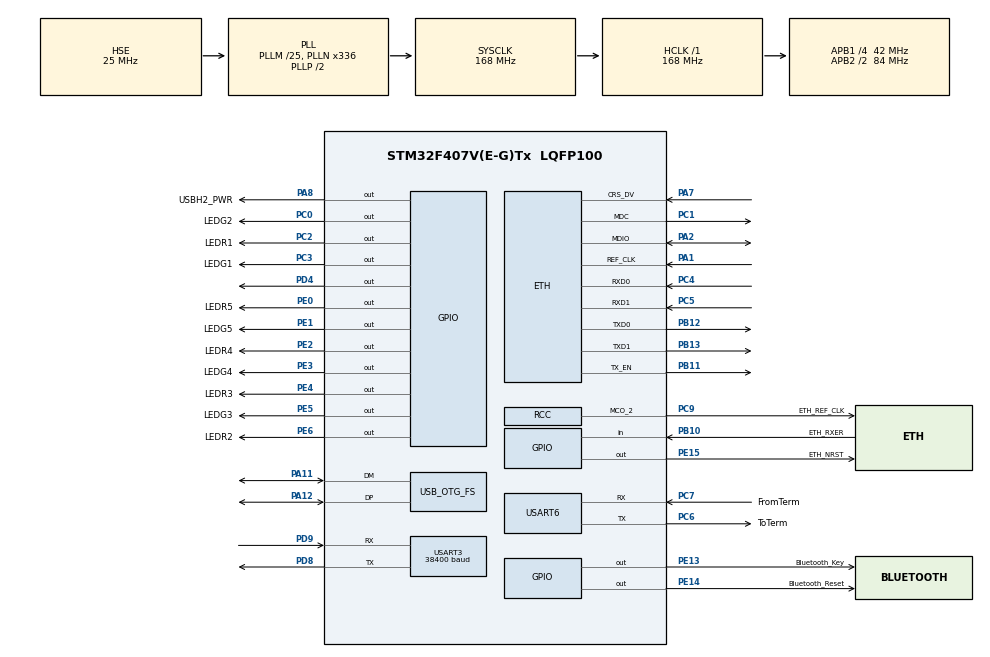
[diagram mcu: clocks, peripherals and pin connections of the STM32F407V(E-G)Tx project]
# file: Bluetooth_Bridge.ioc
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Dma.Request0=USART6_TX
Dma.Request1=USART6_RX
Dma.Request2=USART3_RX
Dma.Request3=USART3_TX
Dma.USART3_RX.2.Direction=DMA_PERIPH_TO_MEMORY
Dma.USART3_RX.2.FIFOMode=DMA_FIFOMODE_DISABLE
Dma.USART3_RX.2.Instance=DMA1_Stream1
Dma.USART3_RX.2.MemDataAlignment=DMA_MDATAALIGN_BYTE
Dma.USART3_RX.2.MemInc=DMA_MINC_ENABLE
Dma.USART3_RX.2.Mode=DMA_CIRCULAR
Dma.USART3_RX.2.PeriphDataAlignment=DMA_PDATAALIGN_BYTE
Dma.USART3_RX.2.PeriphInc=DMA_PINC_DISABLE
Dma.USART3_RX.2.Priority=DMA_PRIORITY_LOW
Dma.USART3_TX.3.Direction=DMA_MEMORY_TO_PERIPH
Dma.USART3_TX.3.FIFOMode=DMA_FIFOMODE_DISABLE
Dma.USART3_TX.3.Instance=DMA1_Stream3
Dma.USART3_TX.3.MemDataAlignment=DMA_MDATAALIGN_BYTE
Dma.USART3_TX.3.MemInc=DMA_MINC_ENABLE
Dma.USART3_TX.3.Mode=DMA_NORMAL
Dma.USART3_TX.3.PeriphDataAlignment=DMA_PDATAALIGN_BYTE
Dma.USART3_TX.3.PeriphInc=DMA_PINC_DISABLE
Dma.USART3_TX.3.Priority=DMA_PRIORITY_LOW
Dma.USART6_RX.1.Direction=DMA_PERIPH_TO_MEMORY
Dma.USART6_RX.1.FIFOMode=DMA_FIFOMODE_DISABLE
Dma.USART6_RX.1.Instance=DMA2_Stream1
Dma.USART6_RX.1.MemDataAlignment=DMA_MDATAALIGN_BYTE
Dma.USART6_RX.1.MemInc=DMA_MINC_ENABLE
Dma.USART6_RX.1.Mode=DMA_CIRCULAR
Dma.USART6_RX.1.PeriphDataAlignment=DMA_PDATAALIGN_BYTE
Dma.USART6_RX.1.PeriphInc=DMA_PINC_DISABLE
Dma.USART6_RX.1.Priority=DMA_PRIORITY_VERY_HIGH
Dma.USART6_TX.0.Direction=DMA_MEMORY_TO_PERIPH
Dma.USART6_TX.0.FIFOMode=DMA_FIFOMODE_DISABLE
Dma.USART6_TX.0.Instance=DMA2_Stream6
Dma.USART6_TX.0.MemDataAlignment=DMA_MDATAALIGN_BYTE
Dma.USART6_TX.0.MemInc=DMA_MINC_ENABLE
Dma.USART6_TX.0.Mode=DMA_NORMAL
Dma.USART6_TX.0.PeriphDataAlignment=DMA_PDATAALIGN_BYTE
Dma.USART6_TX.0.PeriphInc=DMA_PINC_DISABLE
Dma.USART6_TX.0.Priority=DMA_PRIORITY_VERY_HIGH
ETH.ChecksumMode=ETH_CHECKSUM_BY_HARDWARE
ETH.MACAddr=00\:80\:E1\:00\:28\:93
ETH.MediaInterface=ETH_MEDIA_INTERFACE_RMII
ETH.PHY_DUPLEX_STATUS=0x0010
ETH.PHY_ISFR=0x001d
ETH.PHY_ISFR_INT4=0x0010
ETH.PHY_Name_RMII=userPHY
ETH.PHY_SPEED_STATUS=0x0004
ETH.PHY_SR=31
ETH.PHY_User_Name=LAN8720
ETH.PhyAddress=0
FREERTOS.Tasks01=defaultTask,0,512,StartDefaultTask,Default,NULL,Dynamic,NULL,NULL
FREERTOS.configCHECK_FOR_STACK_OVERFLOW=2
FREERTOS.configTOTAL_HEAP_SIZE=20480
FREERTOS.configUSE_MALLOC_FAILED_HOOK=1
Mcu.Family=STM32F4
Mcu.Name=STM32F407V(E-G)Tx
Mcu.Package=LQFP100
NVIC.DMA1_Stream1_IRQn=true\:0\:0\:false\:false\:true\:false\:false
NVIC.DMA1_Stream3_IRQn=true\:0\:0\:false\:false\:true\:false\:false
NVIC.DMA2_Stream1_IRQn=true\:0\:0\:false\:false\:true\:false\:false
NVIC.DMA2_Stream6_IRQn=true\:0\:0\:false\:false\:true\:false\:false
NVIC.PriorityGroup=NVIC_PRIORITYGROUP_4
NVIC.TIM1_UP_TIM10_IRQn=true\:0\:0\:false\:false\:true\:false\:false
NVIC.TimeBase=TIM1_UP_TIM10_IRQn
NVIC.TimeBaseIP=TIM1
NVIC.USART3_IRQn=true\:0\:0\:false\:false\:true\:false\:true
NVIC.USART6_IRQn=true\:0\:0\:false\:false\:true\:false\:true
PA1.Mode=RMII
PA1.Signal=ETH_REF_CLK
PA11.Mode=Host_Only
PA11.Signal=USB_OTG_FS_DM
PA12.Mode=Host_Only
PA12.Signal=USB_OTG_FS_DP
PA13.Mode=Trace_Asynchronous_SW
PA13.Signal=SYS_JTMS-SWDIO
PA14.Mode=Trace_Asynchronous_SW
PA14.Signal=SYS_JTCK-SWCLK
PA2.Mode=RMII
PA2.Signal=ETH_MDIO
PA7.Mode=RMII
PA7.Signal=ETH_CRS_DV
PA8.GPIO_Label=USBH2_PWR
PA8.Signal=GPIO_Output
PB10.GPIO_Label=ETH_RXER
PB10.Signal=GPIO_Input
PB11.Mode=RMII
PB11.Signal=ETH_TX_EN
PB12.Mode=RMII
PB12.Signal=ETH_TXD0
PB13.Mode=RMII
PB13.Signal=ETH_TXD1
PB3.Mode=Trace_Asynchronous_SW
PB3.Signal=SYS_JTDO-SWO
PC0.GPIO_Label=LEDG2
PC0.Signal=GPIO_Output
PC1.Mode=RMII
PC1.Signal=ETH_MDC
PC2.GPIO_Label=LEDR1
PC2.Signal=GPIO_Output
PC3.GPIO_Label=LEDG1
PC3.Signal=GPIO_Output
PC4.Mode=RMII
PC4.Signal=ETH_RXD0
PC5.Mode=RMII
PC5.Signal=ETH_RXD1
PC6.GPIO_Label=ToTerm
PC6.Mode=Asynchronous
PC6.Signal=USART6_TX
PC7.GPIO_Label=FromTerm
PC7.Mode=Asynchronous
PC7.Signal=USART6_RX
PC9.GPIO_Label=ETH_REF_CLK
PC9.GPIO_Speed=GPIO_SPEED_FREQ_HIGH
PC9.Mode=Clock-out-2
PC9.Signal=RCC_MCO_2
PD4.PinState=GPIO_PIN_SET
PD4.Signal=GPIO_Output
PD6.GPIO_Label=FromModem
PD6.Signal=USART2_RX
PD8.Mode=Asynchronous
PD8.Signal=USART3_TX
PD9.Mode=Asynchronous
PD9.Signal=USART3_RX
PE0.GPIO_Label=LEDR5
PE0.Signal=GPIO_Output
PE1.GPIO_Label=LEDG5
PE1.Signal=GPIO_Output
PE13.GPIO_Label=Bluetooth_Key
PE13.Signal=GPIO_Output
PE14.GPIO_Label=Bluetooth_Reset
PE14.Signal=GPIO_Output
PE15.GPIO_Label=ETH_NRST
PE15.Signal=GPIO_Output
PE2.GPIO_Label=LEDR4
PE2.Signal=GPIO_Output
PE3.GPIO_Label=LEDG4
PE3.Signal=GPIO_Output
PE4.GPIO_Label=LEDR3
PE4.Signal=GPIO_Output
PE5.GPIO_Label=LEDG3
PE5.Signal=GPIO_Output
PE6.GPIO_Label=LEDR2
PE6.Signal=GPIO_Output
PH0-OSC_IN.Mode=HSE-External-Oscillator
PH0-OSC_IN.Signal=RCC_OSC_IN
PH1-OSC_OUT.Mode=HSE-External-Oscillator
PH1-OSC_OUT.Signal=RCC_OSC_OUT
ProjectManager.HeapSize=0x2000
ProjectManager.StackSize=0x4000
ProjectManager.TargetToolchain=MDK-ARM V5
RCC.48MHZClocksFreq_Value=48000000
RCC.AHBFreq_Value=168000000
RCC.APB1CLKDivider=RCC_HCLK_DIV4
RCC.APB1Freq_Value=42000000
RCC.APB1TimFreq_Value=84000000
RCC.APB2CLKDivider=RCC_HCLK_DIV2
RCC.APB2Freq_Value=84000000
RCC.APB2TimFreq_Value=168000000
RCC.CortexFreq_Value=168000000
RCC.HCLKFreq_Value=168000000
RCC.HSE_VALUE=25000000
RCC.HSI_VALUE=16000000
RCC.LSE_VALUE=32768
RCC.PLLI2SN=100
RCC.PLLM=25
RCC.PLLN=336
RCC.PLLQ=7
RCC.RCC_MCO2Source=RCC_MCO2SOURCE_PLLI2SCLK
RCC.SYSCLKFreq_VALUE=168000000
RCC.SYSCLKSource=RCC_SYSCLKSOURCE_PLLCLK
RCC.VCOOutputFreq_Value=336000000
USART3.BaudRate=38400
USART3.VirtualMode=VM_ASYNC
USART6.VirtualMode=VM_ASYNC
USB_OTG_FS.VirtualMode=Host_Only
USB_OTG_FS.phy_itface=HCD_PHY_EMBEDDED
VP_FREERTOS_VS_ENABLE.Mode=Enabled
VP_SYS_VS_tim1.Mode=TIM1
board=Bluetooth_Bridge

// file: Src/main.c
/**
  ******************************************************************************
  * @file           : main.c
  * @brief          : Main program body
  ******************************************************************************
  * This notice applies to any and all portions of this file
  * that are not between comment pairs USER CODE BEGIN and
  * USER CODE END. Other portions of this file, whether
  * inserted by the user or by software development tools
  * are owned by their respective copyright owners.
  *
  * Copyright (c) 2018 STMicroelectronics International N.V.
  * All rights reserved.
  *
  * Redistribution and use in source and binary forms, with or without
  * modification, are permitted, provided that the following conditions are met:
  *
  * 1. Redistribution of source code must retain the above copyright notice,
  *    this list of conditions and the following disclaimer.
  * 2. Redistributions in binary form must reproduce the above copyright notice,
  *    this list of conditions and the following disclaimer in the documentation
  *    and/or other materials provided with the distribution.
  * 3. Neither the name of STMicroelectronics nor the names of other
  *    contributors to this software may be used to endorse or promote products
  *    derived from this software without specific written permission.
  * 4. This software, including modifications and/or derivative works of this
  *    software, must execute solely and exclusively on microcontroller or
  *    microprocessor devices manufactured by or for STMicroelectronics.
  * 5. Redistribution and use of this software other than as permitted under
  *    this license is void and will automatically terminate your rights under
  *    this license.
  *
  * THIS SOFTWARE IS PROVIDED BY STMICROELECTRONICS AND CONTRIBUTORS "AS IS"
  * AND ANY EXPRESS, IMPLIED OR STATUTORY WARRANTIES, INCLUDING, BUT NOT
  * LIMITED TO, THE IMPLIED WARRANTIES OF MERCHANTABILITY, FITNESS FOR A
  * PARTICULAR PURPOSE AND NON-INFRINGEMENT OF THIRD PARTY INTELLECTUAL PROPERTY
  * RIGHTS ARE DISCLAIMED TO THE FULLEST EXTENT PERMITTED BY LAW. IN NO EVENT
  * SHALL STMICROELECTRONICS OR CONTRIBUTORS BE LIABLE FOR ANY DIRECT, INDIRECT,
  * INCIDENTAL, SPECIAL, EXEMPLARY, OR CONSEQUENTIAL DAMAGES (INCLUDING, BUT NOT
  * LIMITED TO, PROCUREMENT OF SUBSTITUTE GOODS OR SERVICES; LOSS OF USE, DATA,
  * OR PROFITS; OR BUSINESS INTERRUPTION) HOWEVER CAUSED AND ON ANY THEORY OF
  * LIABILITY, WHETHER IN CONTRACT, STRICT LIABILITY, OR TORT (INCLUDING
  * NEGLIGENCE OR OTHERWISE) ARISING IN ANY WAY OUT OF THE USE OF THIS SOFTWARE,
  * EVEN IF ADVISED OF THE POSSIBILITY OF SUCH DAMAGE.
  *
  ******************************************************************************
  */
#include "main.h"
#include "stm32f4xx_hal.h"
#include "cmsis_os.h"

/* USER CODE BEGIN Includes */
#include "Bluetooth_Interface.h"
#include "HC0506_USART.h"
#include "stdlib.h"
/* USER CODE END Includes */

ETH_HandleTypeDef heth;

UART_HandleTypeDef huart3;
UART_HandleTypeDef huart6;
DMA_HandleTypeDef hdma_usart3_rx;
DMA_HandleTypeDef hdma_usart3_tx;
DMA_HandleTypeDef hdma_usart6_tx;
DMA_HandleTypeDef hdma_usart6_rx;

HCD_HandleTypeDef hhcd_USB_OTG_FS;

osThreadId defaultTaskHandle;

/* USER CODE BEGIN PV */
/* Private variables ---------------------------------------------------------*/
osThreadId BLE_To_PC_Handle;
osThreadId PC_To_BLE_TaskHandle;
/* USER CODE END PV */

void SystemClock_Config(void);
static void MX_GPIO_Init(void);
static void MX_DMA_Init(void);
static void MX_USART6_UART_Init(void);
static void MX_USART3_UART_Init(void);
static void MX_ETH_Init(void);
static void MX_USB_OTG_FS_HCD_Init(void);
void StartDefaultTask(void const * argument);

/* USER CODE BEGIN PFP */
/* Private function prototypes -----------------------------------------------*/

/* USER CODE END PFP */

int main(void)
{

  /* MCU Configuration----------------------------------------------------------*/

  /* Reset of all peripherals, Initializes the Flash interface and the Systick. */
  HAL_Init();

  /* Configure the system clock */
  SystemClock_Config();

  /* Initialize all configured peripherals */
  MX_GPIO_Init();
  MX_DMA_Init();
  MX_USART6_UART_Init();
  MX_USART3_UART_Init();
  MX_ETH_Init();
  MX_USB_OTG_FS_HCD_Init();

  /* Create the thread(s) */
  /* definition and creation of defaultTask */
  osThreadDef(defaultTask, StartDefaultTask, osPriorityNormal, 0, 512);
  defaultTaskHandle = osThreadCreate(osThread(defaultTask), NULL);

  /* Start scheduler */
  osKernelStart();

  /* We should never get here as control is now taken by the scheduler */

  /* Infinite loop */
  while (1)
  {

  }

}

void SystemClock_Config(void)
{

  RCC_OscInitTypeDef RCC_OscInitStruct;
  RCC_ClkInitTypeDef RCC_ClkInitStruct;
  RCC_PeriphCLKInitTypeDef PeriphClkInitStruct;

    /**Configure the main internal regulator output voltage
    */
  __HAL_RCC_PWR_CLK_ENABLE();

  __HAL_PWR_VOLTAGESCALING_CONFIG(PWR_REGULATOR_VOLTAGE_SCALE1);

    /**Initializes the CPU, AHB and APB busses clocks
    */
  RCC_OscInitStruct.OscillatorType = RCC_OSCILLATORTYPE_HSE;
  RCC_OscInitStruct.HSEState = RCC_HSE_ON;
  RCC_OscInitStruct.PLL.PLLState = RCC_PLL_ON;
  RCC_OscInitStruct.PLL.PLLSource = RCC_PLLSOURCE_HSE;
  RCC_OscInitStruct.PLL.PLLM = 25;
  RCC_OscInitStruct.PLL.PLLN = 336;
  RCC_OscInitStruct.PLL.PLLP = RCC_PLLP_DIV2;
  RCC_OscInitStruct.PLL.PLLQ = 7;
  if (HAL_RCC_OscConfig(&RCC_OscInitStruct) != HAL_OK)
  {
    _Error_Handler(__FILE__, __LINE__);
  }

    /**Initializes the CPU, AHB and APB busses clocks
    */
  RCC_ClkInitStruct.ClockType = RCC_CLOCKTYPE_HCLK|RCC_CLOCKTYPE_SYSCLK
                              |RCC_CLOCKTYPE_PCLK1|RCC_CLOCKTYPE_PCLK2;
  RCC_ClkInitStruct.SYSCLKSource = RCC_SYSCLKSOURCE_PLLCLK;
  RCC_ClkInitStruct.AHBCLKDivider = RCC_SYSCLK_DIV1;
  RCC_ClkInitStruct.APB1CLKDivider = RCC_HCLK_DIV4;
  RCC_ClkInitStruct.APB2CLKDivider = RCC_HCLK_DIV2;

  if (HAL_RCC_ClockConfig(&RCC_ClkInitStruct, FLASH_LATENCY_5) != HAL_OK)
  {
    _Error_Handler(__FILE__, __LINE__);
  }

  PeriphClkInitStruct.PeriphClockSelection = RCC_PERIPHCLK_I2S;
  PeriphClkInitStruct.PLLI2S.PLLI2SN = 100;
  PeriphClkInitStruct.PLLI2S.PLLI2SR = 2;
  if (HAL_RCCEx_PeriphCLKConfig(&PeriphClkInitStruct) != HAL_OK)
  {
    _Error_Handler(__FILE__, __LINE__);
  }

  HAL_RCC_MCOConfig(RCC_MCO2, RCC_MCO2SOURCE_PLLI2SCLK, RCC_MCODIV_1);

    /**Configure the Systick interrupt time
    */
  HAL_SYSTICK_Config(HAL_RCC_GetHCLKFreq()/1000);

    /**Configure the Systick
    */
  HAL_SYSTICK_CLKSourceConfig(SYSTICK_CLKSOURCE_HCLK);

  /* SysTick_IRQn interrupt configuration */
  HAL_NVIC_SetPriority(SysTick_IRQn, 15, 0);
}

/* ETH init function */
static void MX_ETH_Init(void)
{

   uint8_t MACAddr[6] ;

  heth.Instance = ETH;
  heth.Init.AutoNegotiation = ETH_AUTONEGOTIATION_ENABLE;
  heth.Init.PhyAddress = LAN8720_PHY_ADDRESS;
  MACAddr[0] = 0x00;
  MACAddr[1] = 0x80;
  MACAddr[2] = 0xE1;
  MACAddr[3] = 0x00;
  MACAddr[4] = 0x28;
  MACAddr[5] = 0x93;
  heth.Init.MACAddr = &MACAddr[0];
  heth.Init.RxMode = ETH_RXPOLLING_MODE;
  heth.Init.ChecksumMode = ETH_CHECKSUM_BY_HARDWARE;
  heth.Init.MediaInterface = ETH_MEDIA_INTERFACE_RMII;

  if (HAL_ETH_Init(&heth) != HAL_OK)
  {
    _Error_Handler(__FILE__, __LINE__);
  }

}

/* USART3 init function */
static void MX_USART3_UART_Init(void)
{

  huart3.Instance = USART3;
  huart3.Init.BaudRate = 38400;
  huart3.Init.WordLength = UART_WORDLENGTH_8B;
  huart3.Init.StopBits = UART_STOPBITS_1;
  huart3.Init.Parity = UART_PARITY_NONE;
  huart3.Init.Mode = UART_MODE_TX_RX;
  huart3.Init.HwFlowCtl = UART_HWCONTROL_NONE;
  huart3.Init.OverSampling = UART_OVERSAMPLING_16;
  if (HAL_UART_Init(&huart3) != HAL_OK)
  {
    _Error_Handler(__FILE__, __LINE__);
  }

}

/* USART6 init function */
static void MX_USART6_UART_Init(void)
{

  huart6.Instance = USART6;
  huart6.Init.BaudRate = 115200;
  huart6.Init.WordLength = UART_WORDLENGTH_8B;
  huart6.Init.StopBits = UART_STOPBITS_1;
  huart6.Init.Parity = UART_PARITY_NONE;
  huart6.Init.Mode = UART_MODE_TX_RX;
  huart6.Init.HwFlowCtl = UART_HWCONTROL_NONE;
  huart6.Init.OverSampling = UART_OVERSAMPLING_16;
  if (HAL_UART_Init(&huart6) != HAL_OK)
  {
    _Error_Handler(__FILE__, __LINE__);
  }

}

/* USB_OTG_FS init function */
static void MX_USB_OTG_FS_HCD_Init(void)
{

  hhcd_USB_OTG_FS.Instance = USB_OTG_FS;
  hhcd_USB_OTG_FS.Init.Host_channels = 8;
  hhcd_USB_OTG_FS.Init.speed = HCD_SPEED_FULL;
  hhcd_USB_OTG_FS.Init.dma_enable = DISABLE;
  hhcd_USB_OTG_FS.Init.phy_itface = HCD_PHY_EMBEDDED;
  hhcd_USB_OTG_FS.Init.Sof_enable = DISABLE;
  if (HAL_HCD_Init(&hhcd_USB_OTG_FS) != HAL_OK)
  {
    _Error_Handler(__FILE__, __LINE__);
  }

}

static void MX_DMA_Init(void)
{
  /* DMA controller clock enable */
  __HAL_RCC_DMA2_CLK_ENABLE();
  __HAL_RCC_DMA1_CLK_ENABLE();

  /* DMA interrupt init */
  /* DMA1_Stream1_IRQn interrupt configuration */
  HAL_NVIC_SetPriority(DMA1_Stream1_IRQn, 0, 0);
  HAL_NVIC_EnableIRQ(DMA1_Stream1_IRQn);
  /* DMA1_Stream3_IRQn interrupt configuration */
  HAL_NVIC_SetPriority(DMA1_Stream3_IRQn, 0, 0);
  HAL_NVIC_EnableIRQ(DMA1_Stream3_IRQn);
  /* DMA2_Stream1_IRQn interrupt configuration */
  HAL_NVIC_SetPriority(DMA2_Stream1_IRQn, 0, 0);
  HAL_NVIC_EnableIRQ(DMA2_Stream1_IRQn);
  /* DMA2_Stream6_IRQn interrupt configuration */
  HAL_NVIC_SetPriority(DMA2_Stream6_IRQn, 0, 0);
  HAL_NVIC_EnableIRQ(DMA2_Stream6_IRQn);

}

/** Configure pins as
        * Analog
        * Input
        * Output
        * EVENT_OUT
        * EXTI
        * Free pins are configured automatically as Analog (this feature is enabled through
        * the Code Generation settings)
     PC9   ------> RCC_MCO_2
     PD6   ------> USART2_RX
*/
static void MX_GPIO_Init(void)
{

  GPIO_InitTypeDef GPIO_InitStruct;

  /* GPIO Ports Clock Enable */
  __HAL_RCC_GPIOE_CLK_ENABLE();
  __HAL_RCC_GPIOC_CLK_ENABLE();
  __HAL_RCC_GPIOH_CLK_ENABLE();
  __HAL_RCC_GPIOA_CLK_ENABLE();
  __HAL_RCC_GPIOB_CLK_ENABLE();
  __HAL_RCC_GPIOD_CLK_ENABLE();

  /*Configure GPIO pin Output Level */
  HAL_GPIO_WritePin(GPIOE, LEDR4_Pin|LEDG4_Pin|LEDR3_Pin|LEDG3_Pin
                          |LEDR2_Pin|Bluetooth_Key_Pin|Bluetooth_Reset_Pin|ETH_NRST_Pin
                          |LEDR5_Pin|LEDG5_Pin, GPIO_PIN_RESET);

  /*Configure GPIO pin Output Level */
  HAL_GPIO_WritePin(GPIOC, LEDG2_Pin|LEDR1_Pin|LEDG1_Pin, GPIO_PIN_RESET);

  /*Configure GPIO pin Output Level */
  HAL_GPIO_WritePin(USBH2_PWR_GPIO_Port, USBH2_PWR_Pin, GPIO_PIN_RESET);

  /*Configure GPIO pin Output Level */
  HAL_GPIO_WritePin(GPIOD, GPIO_PIN_4, GPIO_PIN_SET);

  /*Configure GPIO pins : LEDR4_Pin LEDG4_Pin LEDR3_Pin LEDG3_Pin
                           LEDR2_Pin Bluetooth_Key_Pin Bluetooth_Reset_Pin ETH_NRST_Pin
                           LEDR5_Pin LEDG5_Pin */
  GPIO_InitStruct.Pin = LEDR4_Pin|LEDG4_Pin|LEDR3_Pin|LEDG3_Pin
                          |LEDR2_Pin|Bluetooth_Key_Pin|Bluetooth_Reset_Pin|ETH_NRST_Pin
                          |LEDR5_Pin|LEDG5_Pin;
  GPIO_InitStruct.Mode = GPIO_MODE_OUTPUT_PP;
  GPIO_InitStruct.Pull = GPIO_NOPULL;
  GPIO_InitStruct.Speed = GPIO_SPEED_FREQ_LOW;
  HAL_GPIO_Init(GPIOE, &GPIO_InitStruct);

  /*Configure GPIO pins : PC13 PC14 PC15 PC8
                           PC10 PC11 PC12 */
  GPIO_InitStruct.Pin = GPIO_PIN_13|GPIO_PIN_14|GPIO_PIN_15|GPIO_PIN_8
                          |GPIO_PIN_10|GPIO_PIN_11|GPIO_PIN_12;
  GPIO_InitStruct.Mode = GPIO_MODE_ANALOG;
  GPIO_InitStruct.Pull = GPIO_NOPULL;
  HAL_GPIO_Init(GPIOC, &GPIO_InitStruct);

  /*Configure GPIO pins : LEDG2_Pin LEDR1_Pin LEDG1_Pin */
  GPIO_InitStruct.Pin = LEDG2_Pin|LEDR1_Pin|LEDG1_Pin;
  GPIO_InitStruct.Mode = GPIO_MODE_OUTPUT_PP;
  GPIO_InitStruct.Pull = GPIO_NOPULL;
  GPIO_InitStruct.Speed = GPIO_SPEED_FREQ_LOW;
  HAL_GPIO_Init(GPIOC, &GPIO_InitStruct);

  /*Configure GPIO pins : PA0 PA3 PA4 PA5
                           PA6 PA9 PA10 PA15 */
  GPIO_InitStruct.Pin = GPIO_PIN_0|GPIO_PIN_3|GPIO_PIN_4|GPIO_PIN_5
                          |GPIO_PIN_6|GPIO_PIN_9|GPIO_PIN_10|GPIO_PIN_15;
  GPIO_InitStruct.Mode = GPIO_MODE_ANALOG;
  GPIO_InitStruct.Pull = GPIO_NOPULL;
  HAL_GPIO_Init(GPIOA, &GPIO_InitStruct);

  /*Configure GPIO pins : PB0 PB1 PB2 PB14
                           PB15 PB4 PB5 PB6
                           PB7 PB8 PB9 */
  GPIO_InitStruct.Pin = GPIO_PIN_0|GPIO_PIN_1|GPIO_PIN_2|GPIO_PIN_14
                          |GPIO_PIN_15|GPIO_PIN_4|GPIO_PIN_5|GPIO_PIN_6
                          |GPIO_PIN_7|GPIO_PIN_8|GPIO_PIN_9;
  GPIO_InitStruct.Mode = GPIO_MODE_ANALOG;
  GPIO_InitStruct.Pull = GPIO_NOPULL;
  HAL_GPIO_Init(GPIOB, &GPIO_InitStruct);

  /*Configure GPIO pins : PE7 PE8 PE9 PE10
                           PE11 PE12 */
  GPIO_InitStruct.Pin = GPIO_PIN_7|GPIO_PIN_8|GPIO_PIN_9|GPIO_PIN_10
                          |GPIO_PIN_11|GPIO_PIN_12;
  GPIO_InitStruct.Mode = GPIO_MODE_ANALOG;
  GPIO_InitStruct.Pull = GPIO_NOPULL;
  HAL_GPIO_Init(GPIOE, &GPIO_InitStruct);

  /*Configure GPIO pin : ETH_RXER_Pin */
  GPIO_InitStruct.Pin = ETH_RXER_Pin;
  GPIO_InitStruct.Mode = GPIO_MODE_INPUT;
  GPIO_InitStruct.Pull = GPIO_NOPULL;
  HAL_GPIO_Init(ETH_RXER_GPIO_Port, &GPIO_InitStruct);

  /*Configure GPIO pins : PD10 PD11 PD12 PD13
                           PD14 PD15 PD0 PD1
                           PD2 PD3 PD5 PD7 */
  GPIO_InitStruct.Pin = GPIO_PIN_10|GPIO_PIN_11|GPIO_PIN_12|GPIO_PIN_13
                          |GPIO_PIN_14|GPIO_PIN_15|GPIO_PIN_0|GPIO_PIN_1
                          |GPIO_PIN_2|GPIO_PIN_3|GPIO_PIN_5|GPIO_PIN_7;
  GPIO_InitStruct.Mode = GPIO_MODE_ANALOG;
  GPIO_InitStruct.Pull = GPIO_NOPULL;
  HAL_GPIO_Init(GPIOD, &GPIO_InitStruct);

  /*Configure GPIO pin : ETH_REF_CLK_Pin */
  GPIO_InitStruct.Pin = ETH_REF_CLK_Pin;
  GPIO_InitStruct.Mode = GPIO_MODE_AF_PP;
  GPIO_InitStruct.Pull = GPIO_NOPULL;
  GPIO_InitStruct.Speed = GPIO_SPEED_FREQ_HIGH;
  GPIO_InitStruct.Alternate = GPIO_AF0_MCO;
  HAL_GPIO_Init(ETH_REF_CLK_GPIO_Port, &GPIO_InitStruct);

  /*Configure GPIO pin : USBH2_PWR_Pin */
  GPIO_InitStruct.Pin = USBH2_PWR_Pin;
  GPIO_InitStruct.Mode = GPIO_MODE_OUTPUT_PP;
  GPIO_InitStruct.Pull = GPIO_NOPULL;
  GPIO_InitStruct.Speed = GPIO_SPEED_FREQ_LOW;
  HAL_GPIO_Init(USBH2_PWR_GPIO_Port, &GPIO_InitStruct);

  /*Configure GPIO pin : PD4 */
  GPIO_InitStruct.Pin = GPIO_PIN_4;
  GPIO_InitStruct.Mode = GPIO_MODE_OUTPUT_PP;
  GPIO_InitStruct.Pull = GPIO_NOPULL;
  GPIO_InitStruct.Speed = GPIO_SPEED_FREQ_LOW;
  HAL_GPIO_Init(GPIOD, &GPIO_InitStruct);

  /*Configure GPIO pin : FromModem_Pin */
  GPIO_InitStruct.Pin = FromModem_Pin;
  GPIO_InitStruct.Mode = GPIO_MODE_AF_PP;
  GPIO_InitStruct.Pull = GPIO_NOPULL;
  GPIO_InitStruct.Speed = GPIO_SPEED_FREQ_VERY_HIGH;
  GPIO_InitStruct.Alternate = GPIO_AF7_USART2;
  HAL_GPIO_Init(FromModem_GPIO_Port, &GPIO_InitStruct);

}

/* USER CODE BEGIN 4 */
void BLE_Receive_USART(void const * argument)
{
	HAL_UART_Receive_DMA(&huart3, &BLE_Rx_Buff[0], BLE_BUFFER_SIZE);
  /* Infinite loop */
  for(;;)
  {
		USART_From_BLE_To_PC();
		osDelay(1);
  }

}
void PC_Receive_USART(void const * argument)
{
	HAL_UART_Receive_DMA(&huart6, &PC_Rx_Buff[0], BLE_BUFFER_SIZE);
  /* Infinite loop */
  for(;;)
  {
		USART_From_PC_To_BLE();
		osDelay(1);
  }

}
/* USER CODE END 4 */

/* StartDefaultTask function */
void StartDefaultTask(void const * argument)
{

  /* USER CODE BEGIN 5 */
	printf("BLE BRIDGE START!!!\r\n");
	Bluetooth_Hardware_Reset();
	osThreadDef(BLE_To_PC_Task, BLE_Receive_USART, osPriorityNormal, 0, 512);
  BLE_To_PC_Handle = osThreadCreate(osThread(BLE_To_PC_Task), NULL);
	osThreadDef(PC_To_BLE_Task, PC_Receive_USART, osPriorityNormal, 0, 512);
  PC_To_BLE_TaskHandle = osThreadCreate(osThread(PC_To_BLE_Task), NULL);
  /* Infinite loop */
  for(;;)
  {
    osDelay(1);
  }
  /* USER CODE END 5 */
}

void HAL_TIM_PeriodElapsedCallback(TIM_HandleTypeDef *htim)
{
  if (htim->Instance == TIM1) {
    HAL_IncTick();
  }
}

void _Error_Handler(char *file, int line)
{
  while(1)
  {
  }
}

/************************ (C) COPYRIGHT STMicroelectronics *****END OF FILE****/
